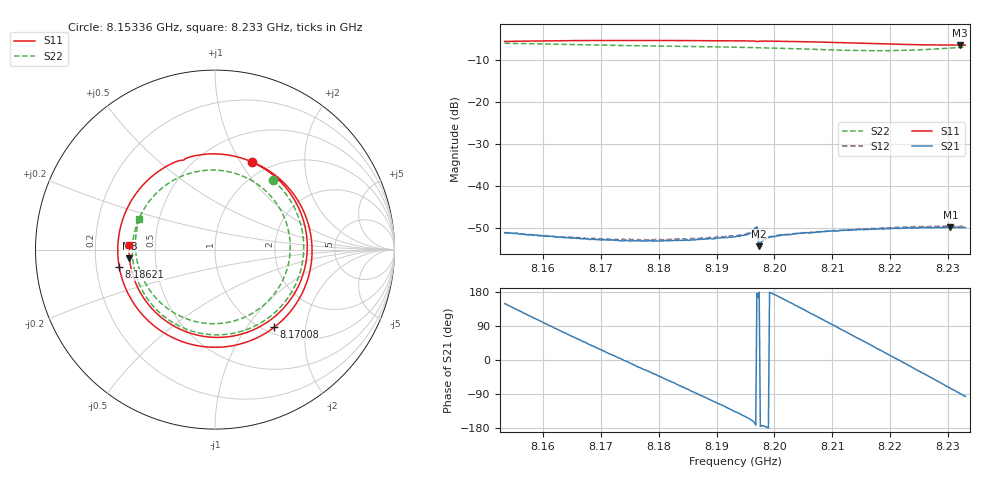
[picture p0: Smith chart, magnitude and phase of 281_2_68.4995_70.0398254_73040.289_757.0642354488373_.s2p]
#  HZ  S  RI  R  50.00
! Rohde & Schwarz Vector Network Analyzer
! Rohde-Schwarz,ZNB20-2Port,1311601062101988,3.16
! Created: UTC 3/20/2024, 5:01:10 PM
! freq[Hz]  re:S11  im:S11  re:S21  im:S21  re:S12  im:S12  re:S22  im:S22
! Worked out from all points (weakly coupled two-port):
!   401 points, 8.15336 GHz to 8.233 GHz, reference 50 ohm
!   highest |S21| = -49.68 dB at 8.23041 GHz (marker M1); lowest = -54.2 dB at 8.19736 GHz (marker M2)
!   lowest |S11| = -6.4 dB at 8.232 GHz (marker M3), VSWR 2.84, Z = 17.7 - j2.18 ohm
!   |S11| at or under -10 dB: nowhere
!   |S22| runs from -7.7 to -6.0 dB; largest |S21 - S12| = 0.00024
!   S11 on the Smith chart (normalised r, x): 8.15336 GHz: 0.83, +1.13; 8.17008 GHz: 1.10, -1.36; 8.18621 GHz: 0.30, -0.08; 8.233 GHz: 0.35, +0.02
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8.153358e9  0.2076 0.4874  -0.00239 0.00147  -0.00242 0.00144  0.3231 0.3869
8.160326e9  0.5159 0.1551  -0.00028 0.00254  -0.000291 0.00258  0.4944 0.00655
8.163512e9  0.5385 -0.0562  0.000715 0.00235  0.000688 0.0024  0.4553 -0.1797
8.166698e9  0.4768 -0.2602  0.00152 0.00184  0.00151 0.00187  0.3503 -0.335
8.170083e9  0.3295 -0.4332  0.00206 0.00105  0.00213 0.00109  0.1858 -0.4421
8.17506e9  0.0146 -0.5442  0.00223 -0.000322  0.00232 -0.000314  -0.0952 -0.4631
8.180038e9  -0.308 -0.4482  0.00166 -0.00151  0.00172 -0.0016  -0.3355 -0.3246
8.18621e9  -0.5336 -0.0967  0.000173 -0.00229  0.000142 -0.0024  -0.4606 -0.012
8.189595e9  -0.5232 0.1378  -0.000802 -0.00224  -0.000887 -0.0023  -0.4238 0.1713
8.193179e9  -0.4042 0.3568  -0.00183 -0.00173  -0.00192 -0.00175  -0.3076 0.3317
8.196564e9  -0.2085 0.4929  -0.00296 -0.000744  -0.00308 -0.000731  -0.1434 0.4239
8.19736e9  -0.1622 0.5077  -0.00194 4.52e-05  -0.002 0.000136  -0.1 0.4348
8.201741e9  0.1451 0.5106  -0.00247 0.000944  -0.00246 0.00104  0.145 0.4133
8.206519e9  0.4162 0.3176  -0.00148 0.00244  -0.0014 0.00245  0.3551 0.2386
8.209705e9  0.5052 0.1108  -0.000295 0.00293  -0.000211 0.00294  0.4167 0.0602
8.212891e9  0.497 -0.1155  0.00103 0.00281  0.00111 0.00283  0.3936 -0.1321
8.216076e9  0.3906 -0.3166  0.00219 0.00213  0.00232 0.00212  0.284 -0.2979
8.219859e9  0.1649 -0.4657  0.00305 0.000719  0.00316 0.000614  0.0668 -0.4063
8.224837e9  -0.1871 -0.447  0.00284 -0.00153  0.00286 -0.00166  -0.2529 -0.3363
8.230412e9  -0.4521 -0.1589  0.000858 -0.00317  0.000707 -0.00325  -0.4417 -0.012
8.232005e9  -0.4766 -0.0476  0.000136 -0.00324  -8.73e-05 -0.00332  -0.4379 0.0998
8.233e9  -0.4785 0.0234  -0.000351 -0.00323  -0.000569 -0.00327  -0.4215 0.1682
